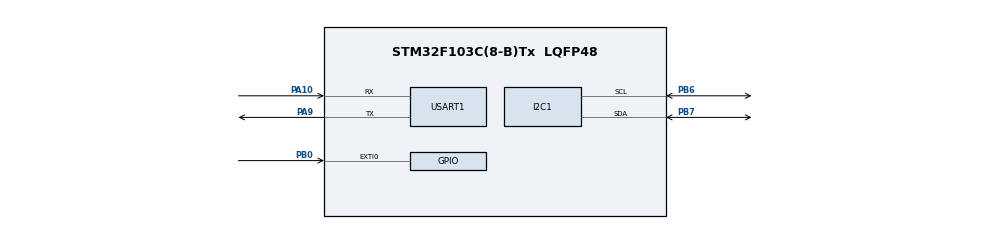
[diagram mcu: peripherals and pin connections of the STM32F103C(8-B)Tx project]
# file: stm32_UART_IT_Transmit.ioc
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Mcu.Family=STM32F1
Mcu.Name=STM32F103C(8-B)Tx
Mcu.Package=LQFP48
NVIC.EXTI0_IRQn=true\:2\:0\:true\:false\:true\:true\:true\:true
NVIC.PriorityGroup=NVIC_PRIORITYGROUP_4
NVIC.USART1_IRQn=true\:1\:0\:true\:false\:true\:true\:true\:true
PA10.Mode=Asynchronous
PA10.Signal=USART1_RX
PA13.Mode=Serial_Wire
PA13.Signal=SYS_JTMS-SWDIO
PA14.Mode=Serial_Wire
PA14.Signal=SYS_JTCK-SWCLK
PA9.Mode=Asynchronous
PA9.Signal=USART1_TX
PB0.Signal=GPXTI0
PB6.Mode=I2C
PB6.Signal=I2C1_SCL
PB7.Mode=I2C
PB7.Signal=I2C1_SDA
PD0-OSC_IN.Mode=HSE-External-Oscillator
PD0-OSC_IN.Signal=RCC_OSC_IN
PD1-OSC_OUT.Mode=HSE-External-Oscillator
PD1-OSC_OUT.Signal=RCC_OSC_OUT
ProjectManager.HeapSize=0x200
ProjectManager.StackSize=0x400
ProjectManager.TargetToolchain=MDK-ARM V5.32
RCC.APB1Freq_Value=8000000
RCC.APB2Freq_Value=8000000
USART1.VirtualMode=VM_ASYNC
board=custom

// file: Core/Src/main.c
/* USER CODE BEGIN Header */
/**
  ******************************************************************************
  * @file           : main.c
  * @brief          : Main program body
  ******************************************************************************
  * @attention
  *
  * Copyright (c) 2024 STMicroelectronics.
  * All rights reserved.
  *
  * This software is licensed under terms that can be found in the LICENSE file
  * in the root directory of this software component.
  * If no LICENSE file comes with this software, it is provided AS-IS.
  *
  ******************************************************************************
  */
/* USER CODE END Header */
#include "main.h"

/* USER CODE BEGIN Includes */
#include "CLCD_I2C.h"
#include "stdio.h"
#include "string.h"
/* USER CODE END Includes */

I2C_HandleTypeDef hi2c1;

UART_HandleTypeDef huart1;

void SystemClock_Config(void);
static void MX_GPIO_Init(void);
static void MX_USART1_UART_Init(void);
static void MX_I2C1_Init(void);

/* USER CODE BEGIN 0 */
uint8_t data[] = "Hello World\n";
uint8_t dataRX[20];
CLCD_I2C_Name LCD1;
char str[20];
/* USER CODE END 0 */

int main(void)
{

  /* MCU Configuration--------------------------------------------------------*/

  /* Reset of all peripherals, Initializes the Flash interface and the Systick. */
  HAL_Init();

  /* USER CODE BEGIN Init */
  CLCD_I2C_Init(&LCD1,&hi2c1,0x4e,16,2);
  /* USER CODE END Init */

  /* Configure the system clock */
  SystemClock_Config();

  /* Initialize all configured peripherals */
  MX_GPIO_Init();
  MX_USART1_UART_Init();
  MX_I2C1_Init();
  /* USER CODE BEGIN 2 */
  HAL_UART_Receive_IT(&huart1,dataRX,sizeof(dataRX));
  /* USER CODE END 2 */

  /* Infinite loop */
  while (1)
  {

  }
}

void SystemClock_Config(void)
{
  RCC_OscInitTypeDef RCC_OscInitStruct = {0};
  RCC_ClkInitTypeDef RCC_ClkInitStruct = {0};

  /** Initializes the RCC Oscillators according to the specified parameters
  * in the RCC_OscInitTypeDef structure.
  */
  RCC_OscInitStruct.OscillatorType = RCC_OSCILLATORTYPE_HSI;
  RCC_OscInitStruct.HSIState = RCC_HSI_ON;
  RCC_OscInitStruct.HSICalibrationValue = RCC_HSICALIBRATION_DEFAULT;
  RCC_OscInitStruct.PLL.PLLState = RCC_PLL_NONE;
  if (HAL_RCC_OscConfig(&RCC_OscInitStruct) != HAL_OK)
  {
    Error_Handler();
  }

  /** Initializes the CPU, AHB and APB buses clocks
  */
  RCC_ClkInitStruct.ClockType = RCC_CLOCKTYPE_HCLK|RCC_CLOCKTYPE_SYSCLK
                              |RCC_CLOCKTYPE_PCLK1|RCC_CLOCKTYPE_PCLK2;
  RCC_ClkInitStruct.SYSCLKSource = RCC_SYSCLKSOURCE_HSI;
  RCC_ClkInitStruct.AHBCLKDivider = RCC_SYSCLK_DIV1;
  RCC_ClkInitStruct.APB1CLKDivider = RCC_HCLK_DIV1;
  RCC_ClkInitStruct.APB2CLKDivider = RCC_HCLK_DIV1;

  if (HAL_RCC_ClockConfig(&RCC_ClkInitStruct, FLASH_LATENCY_0) != HAL_OK)
  {
    Error_Handler();
  }
}

static void MX_I2C1_Init(void)
{

  hi2c1.Instance = I2C1;
  hi2c1.Init.ClockSpeed = 100000;
  hi2c1.Init.DutyCycle = I2C_DUTYCYCLE_2;
  hi2c1.Init.OwnAddress1 = 0;
  hi2c1.Init.AddressingMode = I2C_ADDRESSINGMODE_7BIT;
  hi2c1.Init.DualAddressMode = I2C_DUALADDRESS_DISABLE;
  hi2c1.Init.OwnAddress2 = 0;
  hi2c1.Init.GeneralCallMode = I2C_GENERALCALL_DISABLE;
  hi2c1.Init.NoStretchMode = I2C_NOSTRETCH_DISABLE;
  if (HAL_I2C_Init(&hi2c1) != HAL_OK)
  {
    Error_Handler();
  }

}

static void MX_USART1_UART_Init(void)
{

  huart1.Instance = USART1;
  huart1.Init.BaudRate = 115200;
  huart1.Init.WordLength = UART_WORDLENGTH_8B;
  huart1.Init.StopBits = UART_STOPBITS_1;
  huart1.Init.Parity = UART_PARITY_NONE;
  huart1.Init.Mode = UART_MODE_TX_RX;
  huart1.Init.HwFlowCtl = UART_HWCONTROL_NONE;
  huart1.Init.OverSampling = UART_OVERSAMPLING_16;
  if (HAL_UART_Init(&huart1) != HAL_OK)
  {
    Error_Handler();
  }

}

static void MX_GPIO_Init(void)
{
  GPIO_InitTypeDef GPIO_InitStruct = {0};

  /* GPIO Ports Clock Enable */
  __HAL_RCC_GPIOD_CLK_ENABLE();
  __HAL_RCC_GPIOB_CLK_ENABLE();
  __HAL_RCC_GPIOA_CLK_ENABLE();

  /*Configure GPIO pin : PB0 */
  GPIO_InitStruct.Pin = GPIO_PIN_0;
  GPIO_InitStruct.Mode = GPIO_MODE_IT_RISING;
  GPIO_InitStruct.Pull = GPIO_NOPULL;
  HAL_GPIO_Init(GPIOB, &GPIO_InitStruct);

  /* EXTI interrupt init*/
  HAL_NVIC_SetPriority(EXTI0_IRQn, 2, 0);
  HAL_NVIC_EnableIRQ(EXTI0_IRQn);

}

/* USER CODE BEGIN 4 */
void HAL_GPIO_EXTI_Callback(uint16_t GPIO_Pin)
{
	if(GPIO_Pin == GPIO_PIN_0)
	{
		HAL_UART_Transmit(&huart1,data,sizeof(data),100);
	}
}

void HAL_UART_RxCpltCallback(UART_HandleTypeDef *huart)
{
	if(huart->Instance == huart1.Instance)
	{
		HAL_UART_Receive_IT(&huart1,dataRX,sizeof(dataRX));

	}
}
/* USER CODE END 4 */

void Error_Handler(void)
{
  __disable_irq();
  while (1)
  {
  }
}
